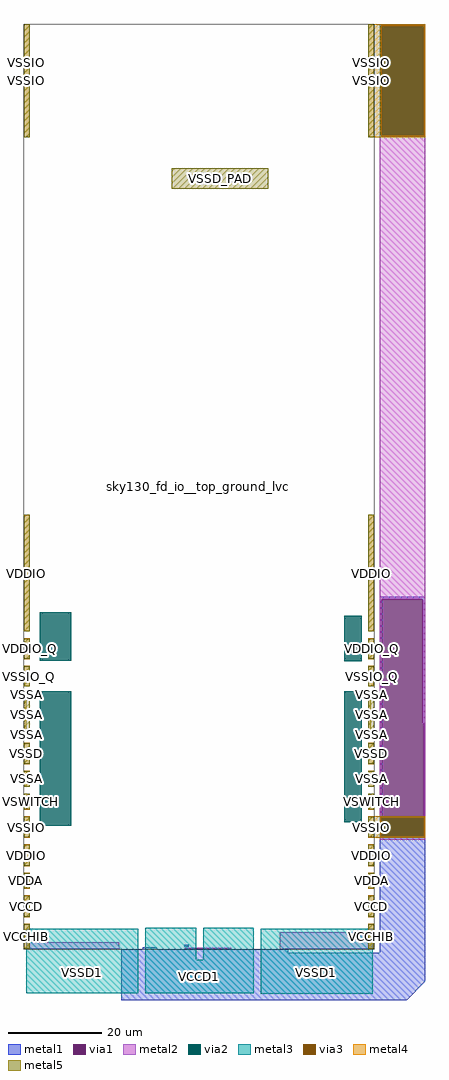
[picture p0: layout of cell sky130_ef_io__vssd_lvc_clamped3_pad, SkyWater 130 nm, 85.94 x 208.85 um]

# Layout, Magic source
magic
tech sky130A
magscale 1 2
<< metal1 >>
rect 6867 95 7067 195
rect 5242 -7 5540 83
<< metal2 >>
rect 101 0 4099 287
rect 6888 -7 8888 58
rect 10953 -7 14940 715
<< via2 >>
rect 681 12332 2029 14408
rect 13709 12318 14473 14274
rect 681 5280 2029 11040
rect 13709 5424 14473 11030
<< metal3 >>
rect 101 60 4900 862
rect 100 -1896 4900 60
rect 5200 68 7374 918
rect 7676 68 9850 918
rect 5200 -458 7376 68
rect 7676 -458 9851 68
rect 5200 -1898 9851 -458
rect 10151 -1902 14940 862
<< metal4 >>
rect 0 34750 254 39593
rect 14746 34750 15000 39593
rect 0 13600 254 18593
rect 14746 13600 15000 18593
rect 0 12410 254 13300
rect 14746 12410 15000 13300
rect 0 11240 254 12130
rect 14746 11240 15000 12130
rect 0 10874 254 10940
rect 14746 10874 15000 10940
rect 0 10218 100 10814
rect 14746 10218 14846 10814
rect 0 9922 254 10158
rect 14746 9922 15000 10158
rect 0 9266 116 9862
rect 14746 9266 14862 9862
rect 0 9140 254 9206
rect 14746 9140 15000 9206
rect 0 7910 254 8840
rect 14746 7910 15000 8840
rect 0 6940 254 7630
rect 14746 6940 15000 7630
rect 0 5970 254 6660
rect 14746 5970 15000 6660
rect 0 4760 254 5690
rect 14746 4760 15000 5690
rect 0 3550 254 4480
rect 14746 3550 15000 4480
rect 0 2580 254 3270
rect 14746 2580 15000 3270
rect 0 1370 254 2300
rect 14746 1370 15000 2300
rect 0 0 254 1090
rect 14746 0 15000 1090
<< metal5 >>
rect 0 34750 254 39593
rect 14746 34750 15000 39593
rect 6339 32546 10468 33417
rect 0 13600 254 18590
rect 14746 13600 15000 18590
rect 0 12430 254 13280
rect 14746 12430 15000 13280
rect 0 11260 254 12110
rect 14746 11260 15000 12110
rect 0 9140 254 10940
rect 14746 9140 15000 10940
rect 0 7930 254 8820
rect 14746 7930 15000 8820
rect 0 6960 254 7610
rect 14746 6960 15000 7610
rect 0 5990 254 6640
rect 14746 5990 15000 6640
rect 0 4780 254 5670
rect 14746 4780 15000 5670
rect 0 3570 254 4460
rect 14746 3570 15000 4460
rect 0 2600 254 3250
rect 14746 2600 15000 3250
rect 0 1390 254 2280
rect 14746 1390 15000 2280
rect 0 20 254 1070
rect 14746 20 15000 1070
use sky130_ef_io__lvc_vccdy_overlay  sky130_ef_io__lvc_vccdy_overlay_0
transform 1 0 0 0 1 7
box 4185 -2184 17187 39586
use sky130_fd_io__top_ground_lvc_wpad  sky130_fd_io__top_ground_lvc_wpad_1 $PDKPATH/libs.ref/sky130_fd_io/mag
transform 1 0 0 0 1 -7
box 0 0 15000 39600
<< labels >>
flabel metal4 s 14873 37925 14873 37925 3 FreeSans 520 180 0 0 VSSIO
port 16 nsew ground bidirectional
flabel metal4 s 127 37925 127 37925 3 FreeSans 520 0 0 0 VSSIO
port 16 nsew ground bidirectional
flabel metal5 s 14746 9140 15000 10940 3 FreeSans 520 180 0 0 VSSA
port 9 nsew ground bidirectional
flabel metal5 s 14807 2600 15000 3250 3 FreeSans 520 180 0 0 VDDA
port 10 nsew power bidirectional
flabel metal5 s 14746 7930 15000 8820 3 FreeSans 520 180 0 0 VSSD
port 17 nsew ground bidirectional
flabel metal5 s 14746 11260 15000 12110 3 FreeSans 520 180 0 0 VSSIO_Q
port 18 nsew ground bidirectional
flabel metal5 s 14746 4780 15000 5670 3 FreeSans 520 180 0 0 VSSIO
port 16 nsew ground bidirectional
flabel metal5 s 14746 5990 15000 6640 3 FreeSans 520 180 0 0 VSWITCH
port 11 nsew power bidirectional
flabel metal5 s 14746 6961 15000 7610 3 FreeSans 520 180 0 0 VSSA
port 9 nsew ground bidirectional
flabel metal5 s 14746 1390 15000 2280 3 FreeSans 520 180 0 0 VCCD
port 15 nsew power bidirectional
flabel metal5 s 14746 12430 15000 13280 3 FreeSans 520 180 0 0 VDDIO_Q
port 12 nsew power bidirectional
flabel metal5 s 14746 20 15000 1070 3 FreeSans 520 180 0 0 VCCHIB
port 13 nsew power bidirectional
flabel metal5 s 14746 13600 15000 18590 3 FreeSans 520 180 0 0 VDDIO
port 14 nsew power bidirectional
flabel metal5 s 14746 3570 15000 4460 3 FreeSans 520 180 0 0 VDDIO
port 14 nsew power bidirectional
flabel metal5 s 0 13600 254 18590 3 FreeSans 520 0 0 0 VDDIO
port 14 nsew power bidirectional
flabel metal5 s 0 7930 254 8820 3 FreeSans 520 0 0 0 VSSD
port 17 nsew ground bidirectional
flabel metal5 s 0 20 254 1070 3 FreeSans 520 0 0 0 VCCHIB
port 13 nsew power bidirectional
flabel metal5 s 0 11260 254 12110 3 FreeSans 520 0 0 0 VSSIO_Q
port 18 nsew ground bidirectional
flabel metal5 s 0 5990 254 6640 3 FreeSans 520 0 0 0 VSWITCH
port 11 nsew power bidirectional
flabel metal5 s 0 4780 254 5670 3 FreeSans 520 0 0 0 VSSIO
port 16 nsew ground bidirectional
flabel metal5 s 0 2600 193 3250 3 FreeSans 520 0 0 0 VDDA
port 10 nsew power bidirectional
flabel metal5 s 0 3570 254 4460 3 FreeSans 520 0 0 0 VDDIO
port 14 nsew power bidirectional
flabel metal5 s 0 1390 254 2280 3 FreeSans 520 0 0 0 VCCD
port 15 nsew power bidirectional
flabel metal5 s 0 12430 254 13280 3 FreeSans 520 0 0 0 VDDIO_Q
port 12 nsew power bidirectional
flabel metal5 s 0 9140 254 10940 3 FreeSans 520 0 0 0 VSSA
port 9 nsew ground bidirectional
flabel metal4 s 14746 0 15000 1090 3 FreeSans 520 180 0 0 VCCHIB
port 13 nsew power bidirectional
flabel metal5 s 0 6961 254 7610 3 FreeSans 520 0 0 0 VSSA
port 9 nsew ground bidirectional
flabel metal4 s 14746 7910 15000 8840 3 FreeSans 520 180 0 0 VSSD
port 17 nsew ground bidirectional
flabel metal4 s 14807 2580 15000 3270 3 FreeSans 520 180 0 0 VDDA
port 10 nsew power bidirectional
flabel metal4 s 14746 11240 15000 12130 3 FreeSans 520 180 0 0 VSSIO_Q
port 18 nsew ground bidirectional
flabel metal4 s 14746 4760 15000 5690 3 FreeSans 520 180 0 0 VSSIO
port 16 nsew ground bidirectional
flabel metal4 s 14746 5970 15000 6660 3 FreeSans 520 180 0 0 VSWITCH
port 11 nsew power bidirectional
flabel metal4 s 14746 9922 15000 10158 3 FreeSans 520 180 0 0 VSSA
port 9 nsew ground bidirectional
flabel metal4 s 14746 10874 15000 10940 3 FreeSans 520 180 0 0 VSSA
port 9 nsew ground bidirectional
flabel metal4 s 14746 3550 15000 4480 3 FreeSans 520 180 0 0 VDDIO
port 14 nsew power bidirectional
flabel metal4 s 14746 9140 15000 9206 3 FreeSans 520 180 0 0 VSSA
port 9 nsew ground bidirectional
flabel metal4 s 14746 6940 15000 7630 3 FreeSans 520 180 0 0 VSSA
port 9 nsew ground bidirectional
flabel metal4 s 14746 12410 15000 13300 3 FreeSans 520 180 0 0 VDDIO_Q
port 12 nsew power bidirectional
flabel metal4 s 14746 1370 15000 2300 3 FreeSans 520 180 0 0 VCCD
port 15 nsew power bidirectional
flabel metal4 s 0 0 254 1090 3 FreeSans 520 0 0 0 VCCHIB
port 13 nsew power bidirectional
flabel metal4 s 14746 9266 15000 9862 3 FreeSans 520 180 0 0 AMUXBUS_B
port 1 nsew signal bidirectional
flabel metal4 s 14746 34750 15000 39593 3 FreeSans 520 180 0 0 VSSIO
port 16 nsew ground bidirectional
flabel metal4 s 14746 10218 15000 10814 3 FreeSans 520 180 0 0 AMUXBUS_A
port 0 nsew signal bidirectional
flabel metal4 s 14746 13600 15000 18593 3 FreeSans 520 180 0 0 VDDIO
port 14 nsew power bidirectional
flabel metal4 s 0 34750 254 39593 3 FreeSans 520 0 0 0 VSSIO
port 16 nsew ground bidirectional
flabel metal4 s 0 3550 254 4480 3 FreeSans 520 0 0 0 VDDIO
port 14 nsew power bidirectional
flabel metal4 s 0 12410 254 13300 3 FreeSans 520 0 0 0 VDDIO_Q
port 12 nsew power bidirectional
flabel metal4 s 0 13600 254 18593 3 FreeSans 520 0 0 0 VDDIO
port 14 nsew power bidirectional
flabel metal4 s 0 1370 254 2300 3 FreeSans 520 0 0 0 VCCD
port 15 nsew power bidirectional
flabel metal4 s 0 9140 254 9206 3 FreeSans 520 0 0 0 VSSA
port 9 nsew ground bidirectional
flabel metal4 s 0 5970 254 6660 3 FreeSans 520 0 0 0 VSWITCH
port 11 nsew power bidirectional
flabel metal4 s 0 9922 254 10158 3 FreeSans 520 0 0 0 VSSA
port 9 nsew ground bidirectional
flabel metal4 s 0 11240 254 12130 3 FreeSans 520 0 0 0 VSSIO_Q
port 18 nsew ground bidirectional
flabel metal4 s 0 4760 254 5690 3 FreeSans 520 0 0 0 VSSIO
port 16 nsew ground bidirectional
flabel metal4 s 0 2580 193 3270 3 FreeSans 520 0 0 0 VDDA
port 10 nsew power bidirectional
flabel metal4 s 0 10218 254 10814 3 FreeSans 520 0 0 0 AMUXBUS_A
port 0 nsew signal bidirectional
flabel metal4 s 0 10874 254 10940 3 FreeSans 520 0 0 0 VSSA
port 9 nsew ground bidirectional
flabel metal4 s 0 6940 254 7630 3 FreeSans 520 0 0 0 VSSA
port 9 nsew ground bidirectional
flabel metal4 s 0 7910 254 8840 3 FreeSans 520 0 0 0 VSSD
port 17 nsew ground bidirectional
flabel metal4 s 0 9266 254 9862 3 FreeSans 520 0 0 0 AMUXBUS_B
port 1 nsew signal bidirectional
flabel metal5 s 6339 32546 10468 33417 0 FreeSans 2000 0 0 0 VSSD_PAD
port 2 nsew ground bidirectional
flabel metal3 100 -1896 4900 -100 0 FreeSans 4800 0 0 0 VSSD1
port 19 nsew ground bidirectional
flabel metal3 5200 -1898 9851 -458 0 FreeSans 4800 0 0 0 VCCD1
port 20 nsew power bidirectional
flabel metal3 10151 -1902 14940 -112 0 FreeSans 4800 0 0 0 VSSD1
port 19 nsew ground bidirectional
<< properties >>
string FIXED_BBOX 0 0 15000 39593
string LEFclass PAD POWER
<< end >>

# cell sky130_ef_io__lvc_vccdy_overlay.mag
magic
tech sky130A
magscale 1 2
<< metal1 >>
rect 15240 14964 17187 15070
rect 15240 9668 15318 14964
rect 17081 9668 17187 14964
rect 15240 5414 15313 9668
rect 17115 5414 17187 9668
rect 5101 -7 5685 83
rect 4185 -163 11313 -7
rect 15240 -163 17187 5414
rect 4185 -1384 17187 -163
rect 4185 -2184 16387 -1384
tri 16387 -2184 17187 -1384 nw
<< via1 >>
rect 15318 9668 17081 14964
rect 15313 5414 17115 9668
<< metal2 >>
rect 15240 39521 17187 39586
rect 15240 34813 15294 39521
rect 17136 34813 17187 39521
rect 15240 14964 17187 34813
rect 15240 9668 15318 14964
rect 17081 9668 17187 14964
rect 15240 5644 15313 9668
rect 17115 5644 17187 9668
rect 15240 4807 15278 5644
rect 17134 4807 17187 5644
rect 15240 4678 17187 4807
<< via2 >>
rect 15294 34813 17136 39521
rect 15278 5414 15313 5644
rect 15313 5414 17115 5644
rect 17115 5414 17134 5644
rect 15278 4807 17134 5414
<< metal3 >>
rect 15240 39521 17187 39586
rect 15240 34813 15294 39521
rect 17136 34813 17187 39521
rect 15240 34743 17187 34813
rect 15240 5644 17187 5683
rect 15240 4807 15278 5644
rect 17134 4807 17187 5644
rect 15240 4753 17187 4807
<< via3 >>
rect 15294 34813 17136 39521
rect 15278 4807 17134 5644
<< metal4 >>
rect 14957 39521 17187 39586
rect 14957 34813 15294 39521
rect 17136 34813 17187 39521
rect 14957 34743 17187 34813
rect 14987 5644 17187 5683
rect 14987 4807 15278 5644
rect 17134 4807 17187 5644
rect 14987 4753 17187 4807
<< properties >>
string FIXED_BBOX 0 -7 15000 39593
<< end >>
